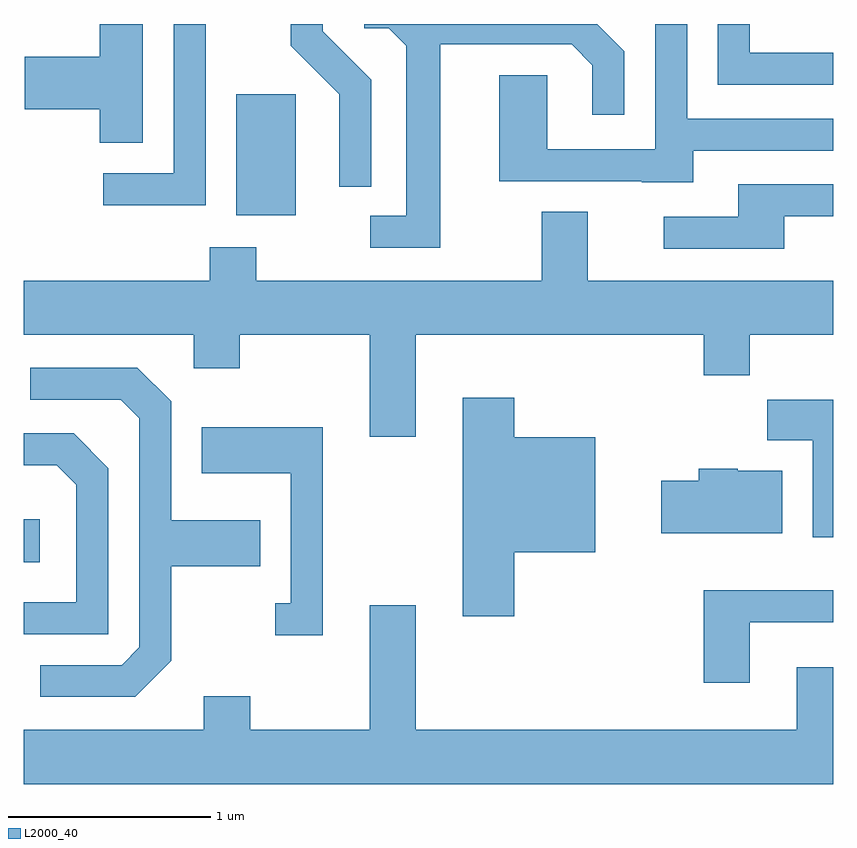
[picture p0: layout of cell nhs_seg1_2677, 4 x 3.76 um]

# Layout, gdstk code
import gdstk
lib = gdstk.Library(unit=1e-6, precision=1e-09)
def R(c, l, rs):  # rectangles x0, y0, x1, y1
    for r in rs: c.add(gdstk.rectangle(r[:2], r[2:], *l))
def P(c, l, *ps):  # polygons
    for p in ps: c.add(gdstk.Polygon(p, *l))
L2000_40 = (2000, 40)

nhs_seg1_2677 = lib.new_cell('nhs_seg1_2677')
R(nhs_seg1_2677, L2000_40, [(265.611,965.051,265.689,965.264), (266.661,966.766,266.954,967.364)])
P(nhs_seg1_2677, L2000_40, [(268.919,967.086),(269.611,967.086),(269.611,967.244),(268.889,967.244),(268.889,967.712),(268.731,967.712),(268.731,967.094),(268.199,967.094),(268.199,967.459),(267.961,967.459),(267.961,966.936),(268.665,966.936),(268.665,966.931),(268.919,966.931)],
  [(267.669,967.611),(268.319,967.611),(268.421,967.509),(268.421,967.263),(268.579,967.263),(268.579,967.577),(268.444,967.712),(267.293,967.712),(267.293,967.691),(267.414,967.691),(267.501,967.604),(267.501,966.764),(267.323,966.764),(267.323,966.606),(267.669,966.606)],
  [(266.199,967.712),(265.986,967.712),(265.986,967.549),(265.616,967.549),(265.616,967.291),(265.986,967.291),(265.986,967.126),(266.199,967.126)],
  [(269.611,967.569),(269.199,967.569),(269.199,967.712),(269.041,967.712),(269.041,967.411),(269.611,967.411)],
  [(267.329,967.437),(267.089,967.677),(267.089,967.712),(266.931,967.712),(266.931,967.604),(267.171,967.364),(267.171,966.908),(267.329,966.908)],
  [(266.509,967.712),(266.351,967.712),(266.351,966.974),(266.003,966.974),(266.003,966.816),(266.509,966.816)],
  [(269.369,966.761),(269.611,966.761),(269.611,966.919),(269.141,966.919),(269.141,966.759),(268.773,966.759),(268.773,966.601),(269.369,966.601)],
  [(267.549,966.176),(268.971,966.176),(268.971,965.976),(269.199,965.976),(269.199,966.176),(269.611,966.176),(269.611,966.444),(268.399,966.444),(268.399,966.784),(268.171,966.784),(268.171,966.444),(266.759,966.444),(266.759,966.609),(266.531,966.609),(266.531,966.444),(265.611,966.444),(265.611,966.176),(266.451,966.176),(266.451,966.011),(266.679,966.011),(266.679,966.176),(267.321,966.176),(267.321,965.671),(267.549,965.671)],
  [(266.339,964.564),(266.339,965.031),(266.779,965.031),(266.779,965.259),(266.339,965.259),(266.339,965.847),(266.172,966.014),(265.643,966.014),(265.643,965.856),(266.089,965.856),(266.181,965.764),(266.181,964.632),(266.094,964.544),(265.693,964.544),(265.693,964.386),(266.162,964.386)],
  [(268.034,965.101),(268.434,965.101),(268.434,965.669),(268.034,965.669),(268.034,965.864),(267.781,965.864),(267.781,964.786),(268.034,964.786)],
  [(269.611,965.854),(269.286,965.854),(269.286,965.656),(269.511,965.656),(269.511,965.176),(269.611,965.176)],
  [(267.089,965.719),(266.491,965.719),(266.491,965.491),(266.931,965.491),(266.931,964.849),(266.853,964.849),(266.853,964.691),(267.089,964.691)],
  [(266.029,965.517),(265.857,965.689),(265.611,965.689),(265.611,965.531),(265.774,965.531),(265.871,965.434),(265.871,964.854),(265.611,964.854),(265.611,964.696),(266.029,964.696)],
  [(269.359,965.504),(269.14,965.504),(269.14,965.514),(268.946,965.514),(268.946,965.454),(268.761,965.454),(268.761,965.196),(269.359,965.196)],
  [(269.199,964.756),(269.611,964.756),(269.611,964.914),(268.971,964.914),(268.971,964.456),(269.199,964.456)],
  [(269.611,964.534),(269.431,964.534),(269.431,964.224),(267.549,964.224),(267.549,964.839),(267.321,964.839),(267.321,964.224),(266.729,964.224),(266.729,964.389),(266.501,964.389),(266.501,964.224),(265.611,964.224),(265.611,963.956),(269.611,963.956)])

lib.write_gds('nhs_seg1_2677.gds')
